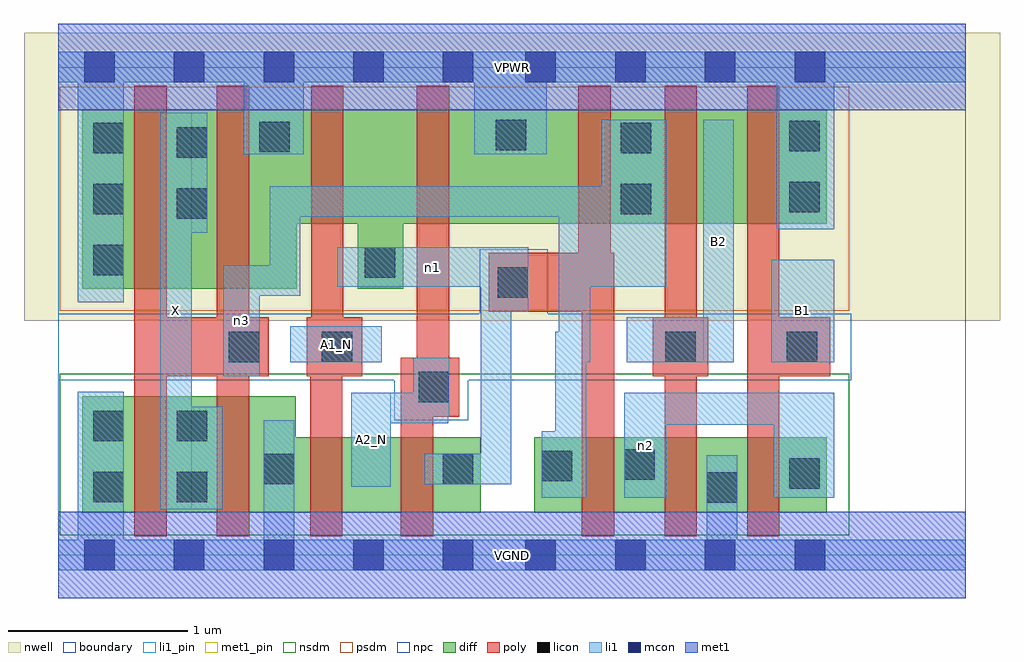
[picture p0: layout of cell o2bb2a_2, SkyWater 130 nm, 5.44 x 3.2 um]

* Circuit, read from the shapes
.subckt o2bb2a_2 A1_N A2_N B1 B2 VGND VPWR X n1 n2 n3
XM1 X n3 VGND VSUBS sky130_fd_pr__nfet_01v8 w=0.65 l=0.18 m=2
XM2 n4 A1_N VGND VSUBS sky130_fd_pr__nfet_01v8 w=0.42 l=0.18
XM3 n1 A2_N n4 VSUBS sky130_fd_pr__nfet_01v8 w=0.42 l=0.18
XM4 n2 n1 n3 VSUBS sky130_fd_pr__nfet_01v8 w=0.42 l=0.18
XM5 VGND B2 n2 VSUBS sky130_fd_pr__nfet_01v8 w=0.42 l=0.18
XM6 n2 B1 VGND VSUBS sky130_fd_pr__nfet_01v8 w=0.42 l=0.18
XM7 X n3 VPWR n5 sky130_fd_pr__pfet_01v8 w=1 l=0.18 m=2
XM8 n1 A1_N VPWR n5 sky130_fd_pr__pfet_01v8 w=0.64 l=0.18
XM9 VPWR A2_N n1 n5 sky130_fd_pr__pfet_01v8 w=0.64 l=0.18
XM10 n3 n1 VPWR n5 sky130_fd_pr__pfet_01v8 w=0.64 l=0.18
XM11 n6 B2 n3 n5 sky130_fd_pr__pfet_01v8 w=0.64 l=0.18
XM12 VPWR B1 n6 n5 sky130_fd_pr__pfet_01v8 w=0.64 l=0.18
.ends

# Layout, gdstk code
import gdstk
lib = gdstk.Library(unit=1e-6, precision=1e-09)
def R(c, l, rs):  # rectangles x0, y0, x1, y1
    for r in rs: c.add(gdstk.rectangle(r[:2], r[2:], *l))
def A(c, l, x, y, w, h, nx, ny, dx, dy):  # array of equal rectangles
    R(c, l, [(x+i*dx, y+j*dy, x+i*dx+w, y+j*dy+h) for i in range(nx) for j in range(ny)])
nwell = (64, 20)
diff = (65, 20)
poly = (66, 20)
licon = (66, 44)
li1_pin = (67, 16)
li1 = (67, 20)
mcon = (67, 44)
met1_pin = (68, 16)
met1 = (68, 20)
nsdm = (93, 44)
psdm = (94, 20)
npc = (95, 20)
boundary = (235, 4)

o2bb2a_2 = lib.new_cell('o2bb2a_2')
R(o2bb2a_2, nwell, [(-0.19,1.305,5.25,2.91), (0,1.305,5.06,2.91)])
R(o2bb2a_2, diff, [(0.135,0.235,2.355,0.655), (0.135,0.235,1.325,0.885), (2.655,0.235,4.285,0.655), (0.135,1.485,1.33,2.485), (1.67,1.485,1.925,2.485), (0.135,1.845,4.285,2.485)])
R(o2bb2a_2, poly, [(0.425,0.105,0.605,2.615), (0.885,0.105,1.065,2.615), (1.405,0.105,1.585,1.325), (1.91,0.105,2.09,1.1), (2.92,0.105,3.08,2.615), (2.92,0.105,3.1,1.685), (3.38,0.105,3.56,2.615), (3.84,0.105,4.02,2.615), (1.91,0.77,2.235,1.1), (0.425,0.995,1.175,1.325), (1.385,0.995,1.695,1.325), (1.41,0.995,1.59,2.615), (3.315,0.995,3.625,1.325), (3.84,0.995,4.305,1.325), (2,1.1,2.18,2.615), (2.4,1.355,3.1,1.685), (2.9,1.355,3.08,2.615)])
A(o2bb2a_2, licon, 0.195, 1.56, 0.17, 0.17, 1, 3, 0, 0.34)
R(o2bb2a_2, licon, [(3.615,0.29,3.785,0.46), (0.195,0.295,0.365,0.465), (0.66,0.295,0.83,0.465), (4.075,0.37,4.245,0.54), (1.145,0.395,1.315,0.565), (2.145,0.395,2.315,0.565), (2.695,0.41,2.865,0.58), (3.155,0.42,3.325,0.59), (0.195,0.635,0.365,0.805), (0.66,0.635,0.83,0.805), (2.01,0.85,2.18,1.02), (0.95,1.075,1.12,1.245), (1.47,1.075,1.64,1.245), (3.385,1.075,3.555,1.245), (4.06,1.075,4.23,1.245), (2.45,1.435,2.62,1.605), (1.71,1.545,1.88,1.715), (0.66,1.875,0.83,2.045), (3.135,1.9,3.305,2.07), (4.075,1.91,4.245,2.08), (0.66,2.215,0.83,2.385), (3.135,2.24,3.305,2.41), (1.12,2.245,1.29,2.415), (4.075,2.25,4.245,2.42), (2.44,2.255,2.61,2.425)])
R(o2bb2a_2, li1_pin, [(0.57,0.255,0.745,2.465), (1.635,0.38,1.855,0.905), (1.295,1.075,1.805,1.275), (3.595,1.075,3.765,2.425), (3.975,1.075,4.325,1.645)])
R(o2bb2a_2, li1, [(0,-0.085,5.06,0.085), (0.11,-0.085,0.365,0.91), (1.145,-0.085,1.315,0.75), (3.615,-0.085,3.785,0.555), (0.57,0.255,0.745,2.465), (0.57,0.255,0.915,0.825), (2.695,0.32,2.945,0.69), (2.77,0.32,2.945,1.245), (3.155,0.32,3.39,0.905), (3.99,0.32,4.325,0.905), (1.635,0.38,1.855,0.905), (2.045,0.395,2.525,0.565), (2.355,0.395,2.525,1.715), (3.155,0.725,4.325,0.905), (1.855,0.735,2.175,0.905), (1.98,0.77,2.18,1.1), (0.92,0.995,1.125,1.615), (1.295,1.075,1.805,1.275), (2.79,1.075,2.965,2.055), (3.17,1.075,3.765,1.325), (3.595,1.075,3.765,2.425), (3.975,1.075,4.325,1.645), (2.355,1.355,2.62,1.715), (0.11,1.41,0.365,2.805), (0.92,1.445,1.35,1.615), (1.18,1.445,1.35,2.055), (1.555,1.495,2.62,1.715), (2.79,1.495,3.39,2.055), (3.03,1.495,3.39,2.425), (0.57,1.795,0.83,2.465), (4.005,1.815,4.325,2.805), (1.18,1.885,3.39,2.055), (1.035,2.235,1.37,2.805), (2.32,2.235,2.725,2.805), (0,2.635,5.06,2.805)])
A(o2bb2a_2, mcon, 0.145, -0.085, 0.17, 0.17, 5, 2, 0.5, 2.72)
A(o2bb2a_2, mcon, 2.605, -0.085, 0.17, 0.17, 4, 2, 0.5, 2.72)
R(o2bb2a_2, met1_pin, [(0,-0.24,5.06,0.24), (0,2.48,5.06,2.96)])
R(o2bb2a_2, met1, [(0,-0.24,5.06,0.24), (0,2.48,5.06,2.96)])
R(o2bb2a_2, nsdm, [(0.01,0.11,4.41,1.01)])
R(o2bb2a_2, psdm, [(0.01,1.36,4.41,2.61)])
R(o2bb2a_2, npc, [(1.875,0.75,2.285,1.345), (0,0.975,4.42,1.345), (2.35,0.975,2.73,1.705)])
R(o2bb2a_2, boundary, [(0,0,5.06,2.72)])
o2bb2a_2.add(gdstk.Label('A1_N', (1.55,1.175), layer=67, texttype=5))
o2bb2a_2.add(gdstk.Label('A2_N', (1.745,0.642), layer=67, texttype=5))
o2bb2a_2.add(gdstk.Label('B1', (4.15,1.36), layer=67, texttype=5))
o2bb2a_2.add(gdstk.Label('B2', (3.68,1.75), layer=67, texttype=5))
o2bb2a_2.add(gdstk.Label('X', (0.657,1.36), layer=67, texttype=5))
o2bb2a_2.add(gdstk.Label('n2', (3.272,0.612), layer=67, texttype=5))
o2bb2a_2.add(gdstk.Label('n1', (2.087,1.605), layer=67, texttype=5))
o2bb2a_2.add(gdstk.Label('n3', (1.022,1.305), layer=67, texttype=5))
o2bb2a_2.add(gdstk.Label('VPWR', (2.53,2.72), layer=68, texttype=5))
o2bb2a_2.add(gdstk.Label('VGND', (2.53,0), layer=68, texttype=5))
o2bb2a_2.add(gdstk.Label('A1_N', (1.55,1.175), layer=67, texttype=16))
o2bb2a_2.add(gdstk.Label('A2_N', (1.745,0.642), layer=67, texttype=16))
o2bb2a_2.add(gdstk.Label('B1', (4.15,1.36), layer=67, texttype=16))
o2bb2a_2.add(gdstk.Label('B2', (3.68,1.75), layer=67, texttype=16))
o2bb2a_2.add(gdstk.Label('X', (0.657,1.36), layer=67, texttype=16))
o2bb2a_2.add(gdstk.Label('VPWR', (2.53,2.72), layer=68, texttype=16))
o2bb2a_2.add(gdstk.Label('VGND', (2.53,0), layer=68, texttype=16))

lib.write_gds('o2bb2a_2.gds')
